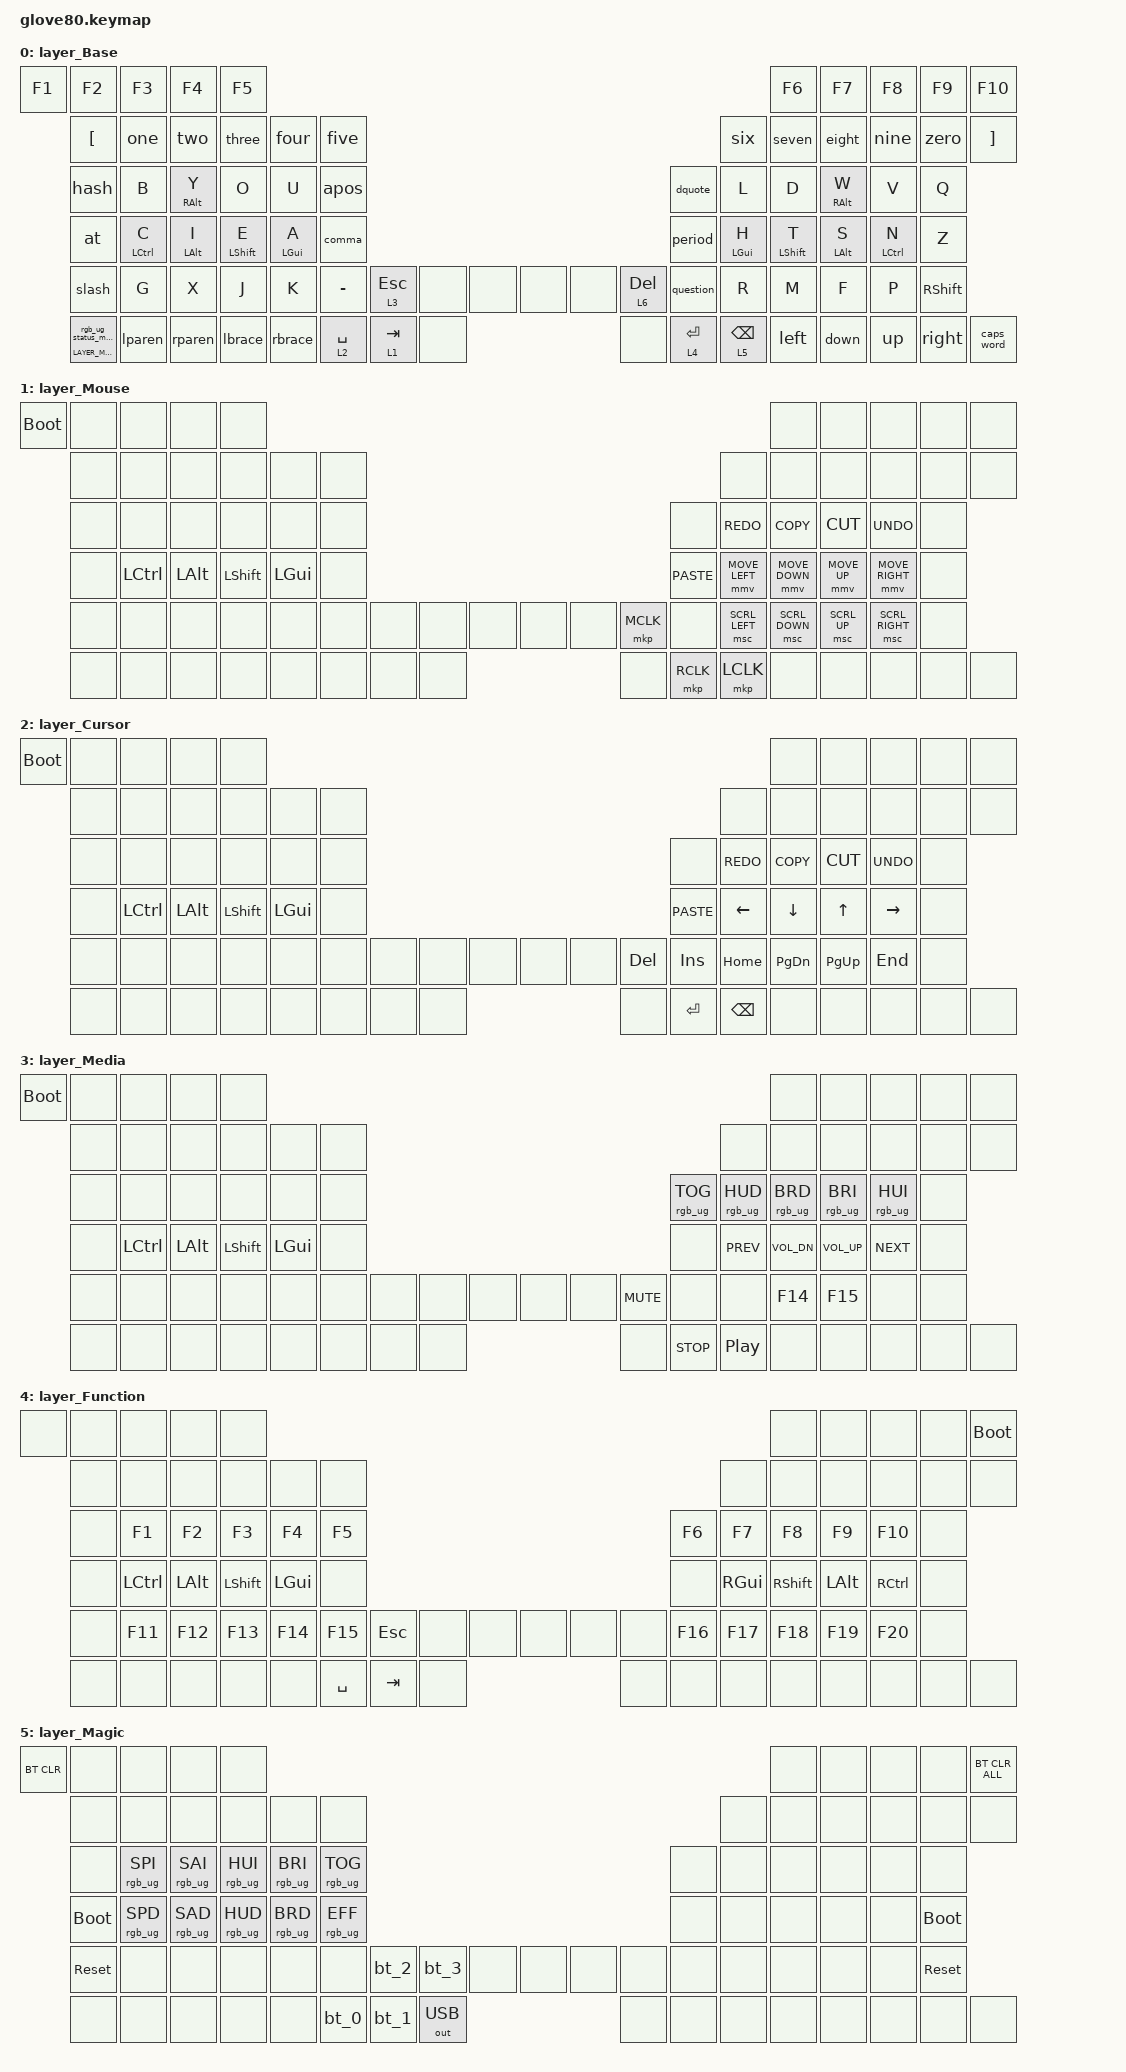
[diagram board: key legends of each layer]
/*
 * Copyright (c) 2020 The ZMK Contributors
 * Copyright (c) 2023 Innaworks Development Limited, trading as MoErgo
 *
 * SPDX-License-Identifier: MIT
 */


#include <behaviors.dtsi>
#include <dt-bindings/zmk/outputs.h>
#include <dt-bindings/zmk/keys.h> // ZMK keypresses
#include <dt-bindings/zmk/bt.h> // Bluetooth
#include <dt-bindings/zmk/rgb.h> // RGB lighting
#include <dt-bindings/zmk/mouse.h> // Custom device tree

// Define layers
#define LAYER_Base 0
#define LAYER_Mouse 1
#define LAYER_Cursor 2
#define LAYER_Media 3
#define LAYER_Function 4
#define LAYER_Magic 5
#ifndef LAYER_Lower
#define LAYER_Lower 0
#endif



// Glove80 system behavior & macros
/ {
    behaviors {
        lower: lower {
            compatible = "zmk,behavior-tap-dance";
            label = "LAYER_TAP_DANCE";
            #binding-cells = <0>;
            tapping-term-ms = <200>;
            bindings = <&mo LAYER_Lower>, <&to LAYER_Lower>;
        };
    };
};

/ {
    macros {
        rgb_ug_status_macro: rgb_ug_status_macro {
            label = "RGB_UG_STATUS";
            compatible = "zmk,behavior-macro";
            #binding-cells = <0>;
            bindings
                = <&rgb_ug RGB_STATUS>;
        };
    };
};

// Bluetooth stuff
/ {
#ifdef BT_DISC_CMD
    behaviors {
        bt_0: bt_0 {
            compatible = "zmk,behavior-tap-dance";
            label = "BT_0";
            #binding-cells = <0>;
            tapping-term-ms = <200>;
            bindings = <&bt_select_0>, <&bt BT_DISC 0>;
        };
        bt_1: bt_1 {
            compatible = "zmk,behavior-tap-dance";
            label = "BT_1";
            #binding-cells = <0>;
            tapping-term-ms = <200>;
            bindings = <&bt_select_1>, <&bt BT_DISC 1>;
        };
        bt_2: bt_2 {
            compatible = "zmk,behavior-tap-dance";
            label = "BT_2";
            #binding-cells = <0>;
            tapping-term-ms = <200>;
            bindings = <&bt_select_2>, <&bt BT_DISC 2>;
        };
        bt_3: bt_3 {
            compatible = "zmk,behavior-tap-dance";
            label = "BT_3";
            #binding-cells = <0>;
            tapping-term-ms = <200>;
            bindings = <&bt_select_3>, <&bt BT_DISC 3>;
        };
    };
    macros {
        bt_select_0: bt_select_0 {
            label = "BT_SELECT_0";
            compatible = "zmk,behavior-macro";
            #binding-cells = <0>;
            bindings
                = <&out OUT_BLE>,
                  <&bt BT_SEL 0>;
        };
        bt_select_1: bt_select_1 {
            label = "BT_SELECT_1";
            compatible = "zmk,behavior-macro";
            #binding-cells = <0>;
            bindings
                = <&out OUT_BLE>,
                  <&bt BT_SEL 1>;
        };
        bt_select_2: bt_select_2 {
            label = "BT_SELECT_2";
            compatible = "zmk,behavior-macro";
            #binding-cells = <0>;
            bindings
                = <&out OUT_BLE>,
                  <&bt BT_SEL 2>;
        };
        bt_select_3: bt_select_3 {
            label = "BT_SELECT_3";
            compatible = "zmk,behavior-macro";
            #binding-cells = <0>;
            bindings
                = <&out OUT_BLE>,
                  <&bt BT_SEL 3>;
        };
    };
#else
    macros {
        bt_0: bt_0 {
            label = "BT_0";
            compatible = "zmk,behavior-macro";
            #binding-cells = <0>;
            bindings
                = <&out OUT_BLE>,
                  <&bt BT_SEL 0>;
        };
        bt_1: bt_1 {
            label = "BT_1";
            compatible = "zmk,behavior-macro";
            #binding-cells = <0>;
            bindings
                = <&out OUT_BLE>,
                  <&bt BT_SEL 1>;
        };
        bt_2: bt_2 {
            label = "BT_2";
            compatible = "zmk,behavior-macro";
            #binding-cells = <0>;
            bindings
                = <&out OUT_BLE>,
                  <&bt BT_SEL 2>;
        };
        bt_3: bt_3 {
            label = "BT_3";
            compatible = "zmk,behavior-macro";
            #binding-cells = <0>;
            bindings
                = <&out OUT_BLE>,
                  <&bt BT_SEL 3>;
        };
    };
#endif
};

// Magic layer
/ {
    behaviors {
        magic: magic {
            compatible = "zmk,behavior-hold-tap";
            label = "MAGIC_HOLD_TAP";
            #binding-cells = <2>;
            flavor = "tap-preferred";
            tapping-term-ms = <200>;
            bindings = <&mo>, <&rgb_ug_status_macro>;
        };
    };
};

/* #define for key positions */
#define POS_LH_T1 52
#define POS_LH_T2 53
#define POS_LH_T3 54
#define POS_LH_T4 69
#define POS_LH_T5 70
#define POS_LH_T6 71
#define POS_LH_C1R2 15
#define POS_LH_C1R3 27
#define POS_LH_C1R4 39
#define POS_LH_C1R5 51
#define POS_LH_C2R1 4
#define POS_LH_C2R2 14
#define POS_LH_C2R3 26
#define POS_LH_C2R4 38
#define POS_LH_C2R5 50
#define POS_LH_C2R6 68
#define POS_LH_C3R1 3
#define POS_LH_C3R2 13
#define POS_LH_C3R3 25
#define POS_LH_C3R4 37
#define POS_LH_C3R5 49
#define POS_LH_C3R6 67
#define POS_LH_C4R1 2
#define POS_LH_C4R2 12
#define POS_LH_C4R3 24
#define POS_LH_C4R4 36
#define POS_LH_C4R5 48
#define POS_LH_C4R6 66
#define POS_LH_C5R1 1
#define POS_LH_C5R2 11
#define POS_LH_C5R3 23
#define POS_LH_C5R4 35
#define POS_LH_C5R5 47
#define POS_LH_C5R6 65
#define POS_LH_C6R1 0
#define POS_LH_C6R2 10
#define POS_LH_C6R3 22
#define POS_LH_C6R4 34
#define POS_LH_C6R5 46
#define POS_LH_C6R6 64
#define POS_RH_T1 57
#define POS_RH_T2 56
#define POS_RH_T3 55
#define POS_RH_T4 74
#define POS_RH_T5 73
#define POS_RH_T6 72
#define POS_RH_C1R2 16
#define POS_RH_C1R3 28
#define POS_RH_C1R4 40
#define POS_RH_C1R5 58
#define POS_RH_C2R1 5
#define POS_RH_C2R2 17
#define POS_RH_C2R3 29
#define POS_RH_C2R4 41
#define POS_RH_C2R5 59
#define POS_RH_C2R6 75
#define POS_RH_C3R1 6
#define POS_RH_C3R2 18
#define POS_RH_C3R3 30
#define POS_RH_C3R4 42
#define POS_RH_C3R5 60
#define POS_RH_C3R6 76
#define POS_RH_C4R1 7
#define POS_RH_C4R2 19
#define POS_RH_C4R3 31
#define POS_RH_C4R4 43
#define POS_RH_C4R5 61
#define POS_RH_C4R6 77
#define POS_RH_C5R1 8
#define POS_RH_C5R2 20
#define POS_RH_C5R3 32
#define POS_RH_C5R4 44
#define POS_RH_C5R5 62
#define POS_RH_C5R6 78
#define POS_RH_C6R1 9
#define POS_RH_C6R2 21
#define POS_RH_C6R3 33
#define POS_RH_C6R4 45
#define POS_RH_C6R5 63
#define POS_RH_C6R6 79

// Custom behavior definitions.
// Modifiers: MOD_LSFT, MOD_RSFT, MOD_LCTL, MOD_RCTL, MOD_LALT, MOD_RALT, MOD_LGUI, MOD_RGUI
/ {
behaviors {
  // Change shifted output of particular keys.
    one: one_and_pipe {
        compatible = "zmk,behavior-mod-morph";
        label = "ONE_AND_PIPE";
        #binding-cells = <0>;
        bindings = <&kp N1>, <&kp PIPE>; 
        mods = <(MOD_LSFT|MOD_RSFT)>;
    };
    two: two_and_equal {
        compatible = "zmk,behavior-mod-morph";
        label = "TWO_AND_EQUAL";
        #binding-cells = <0>;
        bindings = <&kp N2>, <&kp EQUAL>;
        mods = <(MOD_LSFT|MOD_RSFT)>;
    };
    three: three_and_tilde {
        compatible = "zmk,behavior-mod-morph";
        label = "THREE_AND_TILDE";
        #binding-cells = <0>;
        bindings = <&kp N3>, <&kp TILDE>;
        mods = <(MOD_LSFT|MOD_RSFT)>;
    };
    four: four_and_plus {
        compatible = "zmk,behavior-mod-morph";
        label = "FOUR_AND_PLUS";
        #binding-cells = <0>;
        bindings = <&kp N4>, <&kp PLUS>;
        mods = <(MOD_LSFT|MOD_RSFT)>;
    };
    five: five_and_less_than {
        compatible = "zmk,behavior-mod-morph";
        label = "FIVE_AND_LESS_THAN";
        #binding-cells = <0>;
        bindings = <&kp N5>, <&kp LESS_THAN>;
        mods = <(MOD_LSFT|MOD_RSFT)>;
    };
    six: six_and_greater_than {
        compatible = "zmk,behavior-mod-morph";
        label = "SIX_AND_GREATER_THAN";
        #binding-cells = <0>;
        bindings = <&kp N6>, <&kp GREATER_THAN>;
        mods = <(MOD_LSFT|MOD_RSFT)>;
    };
    seven: seven_and_caret {
        compatible = "zmk,behavior-mod-morph";
        label = "SEVEN_AND_CARET";
        #binding-cells = <0>;
        bindings = <&kp N7>, <&kp CARET>;
        mods = <(MOD_LSFT|MOD_RSFT)>;
    };
    eight: eight_and_ampersand {
        compatible = "zmk,behavior-mod-morph";
        label = "EIGHT_AND_AMPERSAND";
        #binding-cells = <0>;
        bindings = <&kp N8>, <&kp AMPERSAND>;
        mods = <(MOD_LSFT|MOD_RSFT)>;
    };
    nine: nine_and_percent {
        compatible = "zmk,behavior-mod-morph";
        label = "NINE_AND_PERCENT";
        #binding-cells = <0>;
        bindings = <&kp N9>, <&kp PERCENT>;
        mods = <(MOD_LSFT|MOD_RSFT)>;
    };
    zero: zero_and_asterisk {
        compatible = "zmk,behavior-mod-morph";
        label = "ZERO_AND_ASTERISK";
        #binding-cells = <0>;
        bindings = <&kp N0>, <&kp ASTERISK>;
        mods = <(MOD_LSFT|MOD_RSFT)>;
    };
    apos: apostrophe_and_left_parenthesis {
        compatible = "zmk,behavior-mod-morph";
        label = "APOSTROPHE_AND_LEFT_PARENTHESIS";
        #binding-cells = <0>;
        bindings = <&kp APOSTROPHE>, <&kp LEFT_PARENTHESIS>;
        mods = <(MOD_LSFT|MOD_RSFT)>;
    };
    dquote: double_quotes_and_right_parenthesis {
        compatible = "zmk,behavior-mod-morph";
        label = "DOUBLE_QUOTES_AND_RIGHT_PARENTHESIS";
        #binding-cells = <0>;
        bindings = <&kp DOUBLE_QUOTES>, <&kp RIGHT_PARENTHESIS>;
        mods = <(MOD_LSFT|MOD_RSFT)>;
    };
    comma: comma_and_semicolon {
        compatible = "zmk,behavior-mod-morph";
        label = "COMMA_AND_SEMICOLON";
        #binding-cells = <0>;
        bindings = <&kp COMMA>, <&kp SEMICOLON>;
        mods = <(MOD_LSFT|MOD_RSFT)>;
    };
    period: period_and_colon {
        compatible = "zmk,behavior-mod-morph";
        label = "PERIOD_AND_COLON";
        #binding-cells = <0>;
        bindings = <&kp PERIOD>, <&kp COLON>;
        mods = <(MOD_LSFT|MOD_RSFT)>;
    };
    question: question_and_exclamation {
        compatible = "zmk,behavior-mod-morph";
        label = "QUESTION_AND_EXCLAMATION";
        #binding-cells = <0>;
        bindings = <&kp QUESTION>, <&kp EXCLAMATION>;
        mods = <(MOD_LSFT|MOD_RSFT)>;
    };
    hash: hash_and_dollar {
        compatible = "zmk,behavior-mod-morph";
        label = "HASH_AND_DOLLAR";
        #binding-cells = <0>;
        bindings = <&kp HASH>, <&kp DOLLAR>;
        mods = <(MOD_LSFT|MOD_RSFT)>;
    };
    at: at_and_grave {
        compatible = "zmk,behavior-mod-morph";
        label = "AT_AND_GRAVE";
        #binding-cells = <0>;
        bindings = <&kp AT>, <&kp GRAVE>;
        mods = <(MOD_LSFT|MOD_RSFT)>;
    };
    slash: slash_and_backslash {
        compatible = "zmk,behavior-mod-morph";
        label = "SLASH_AND_BACKSLASH";
        #binding-cells = <0>;
        bindings = <&kp SLASH>, <&kp BACKSLASH>;
        mods = <(MOD_LSFT|MOD_RSFT)>;
    };
    lparen: left_parenthesis_and_brace {
        compatible = "zmk,behavior-mod-morph";
        label = "PARENTHESIS_AND_BRACE";
        #binding-cells = <0>;
        bindings = <&kp LEFT_PARENTHESIS>, <&kp LEFT_BRACKET>;
        mods = <(MOD_LSFT|MOD_RSFT)>;
    };
    rparen: right_parenthesis_and_brace {
        compatible = "zmk,behavior-mod-morph";
        label = "RIGHT_PARENTHESIS_AND_BRACE";
        #binding-cells = <0>;
        bindings = <&kp RIGHT_PARENTHESIS>, <&kp RIGHT_BRACKET>;
        mods = <(MOD_LSFT|MOD_RSFT)>;
    };
    lbrace: left_brace_and_less_than {
        compatible = "zmk,behavior-mod-morph";
        label = "LEFT_BRACE_AND_LESS_THAN";
        #binding-cells = <0>;
        bindings = <&kp LEFT_BRACE>, <&kp LESS_THAN>;
        mods = <(MOD_LSFT|MOD_RSFT)>;
    };
    rbrace: right_brace_and_greater_than {
        compatible = "zmk,behavior-mod-morph";
        label = "RIGHT_BRACE_AND_GREATER_THAN";
        #binding-cells = <0>;
        bindings = <&kp RIGHT_BRACE>, <&kp GREATER_THAN>;
        mods = <(MOD_LSFT|MOD_RSFT)>;
    };
    left: left_and_home {
        compatible = "zmk,behavior-mod-morph";
        label = "LEFT_AND_HOME";
        #binding-cells = <0>;
        bindings = <&kp LEFT>, <&kp HOME>;
        mods = <(MOD_LSFT|MOD_RSFT)>;
    };
    right: right_and_end {
        compatible = "zmk,behavior-mod-morph";
        label = "RIGHT_AND_END";
        #binding-cells = <0>;
        bindings = <&kp RIGHT>, <&kp END>;
        mods = <(MOD_LSFT|MOD_RSFT)>;
    };
    up: up_and_pgup {
        compatible = "zmk,behavior-mod-morph";
        label = "UP_AND_PGUP";
        #binding-cells = <0>;
        bindings = <&kp UP>, <&kp PG_UP>;
        mods = <(MOD_LSFT|MOD_RSFT)>;
    };
    down: down_and_pgdn {
        compatible = "zmk,behavior-mod-morph";
        label = "DOWN_AND_PGDN";
        #binding-cells = <0>;
        bindings = <&kp DOWN>, <&kp PAGE_DOWN>;
        mods = <(MOD_LSFT|MOD_RSFT)>;
    };
  };
};

// I don't know if this needs to be kept or not.
/ { macros {}; };

// Mod tap behaviors
/ {
    behaviors {

        left_pinky: left_pinky {
            compatible = "zmk,behavior-hold-tap";
            #binding-cells = <2>;
            tapping-term-ms = <200>;
            bindings = <&kp>, <&kp>;
            flavor = "tap-preferred";
            quick-tap-ms = <200>;
            require-prior-idle-ms = <100>;
        };

        right_pinky: right_pinky {
            compatible = "zmk,behavior-hold-tap";
            #binding-cells = <2>;
            tapping-term-ms = <200>;
            bindings = <&kp>, <&kp>;
            flavor = "tap-preferred";
            quick-tap-ms = <200>;
            require-prior-idle-ms = <100>;
        };

        left_ring1: left_ring1 {
            compatible = "zmk,behavior-hold-tap";
            #binding-cells = <2>;
            tapping-term-ms = <200>;
            bindings = <&kp>, <&kp>;
            flavor = "tap-preferred";
            quick-tap-ms = <200>;
            require-prior-idle-ms = <100>;
        };

        right_ring1: right_ring1 {
            compatible = "zmk,behavior-hold-tap";
            #binding-cells = <2>;
            tapping-term-ms = <200>;
            bindings = <&kp>, <&kp>;
            flavor = "tap-preferred";
            quick-tap-ms = <200>;
            require-prior-idle-ms = <100>;
        };

        left_ring2: left_ring2 {
            compatible = "zmk,behavior-hold-tap";
            #binding-cells = <2>;
            tapping-term-ms = <200>;
            bindings = <&kp>, <&kp>;
            flavor = "tap-preferred";
            quick-tap-ms = <200>;
            require-prior-idle-ms = <100>;
        };

        right_ring2: right_ring2 {
            compatible = "zmk,behavior-hold-tap";
            #binding-cells = <2>;
            tapping-term-ms = <200>;
            bindings = <&kp>, <&kp>;
            flavor = "tap-preferred";
            quick-tap-ms = <200>;
            require-prior-idle-ms = <100>;
        };

        left_middy: left_middy {
            compatible = "zmk,behavior-hold-tap";
            #binding-cells = <2>;
            tapping-term-ms = <170>;
            bindings = <&kp>, <&kp>;
            flavor = "balanced";
            quick-tap-ms = <100>;
        };

        right_middy: right_middy {
            compatible = "zmk,behavior-hold-tap";
            #binding-cells = <2>;
            tapping-term-ms = <170>;
            bindings = <&kp>, <&kp>;
            flavor = "balanced";
            quick-tap-ms = <100>;
        };

        left_index: left_index {
            compatible = "zmk,behavior-hold-tap";
            #binding-cells = <2>;
            tapping-term-ms = <170>;
            bindings = <&kp>, <&kp>;
            flavor = "tap-preferred";
            quick-tap-ms = <150>;
            require-prior-idle-ms = <100>;
        };

        right_index: right_index {
            compatible = "zmk,behavior-hold-tap";
            #binding-cells = <2>;
            tapping-term-ms = <170>;
            bindings = <&kp>, <&kp>;
            flavor = "tap-preferred";
            quick-tap-ms = <150>;
            require-prior-idle-ms = <100>;
        };

        thumb: thumb {
            compatible = "zmk,behavior-hold-tap";
            #binding-cells = <2>;
            tapping-term-ms = <200>;
            bindings = <&mo>, <&kp>;
            flavor = "tap-preferred";
            quick-tap-ms = <200>;
            require-prior-idle-ms = <100>;
        };
    };
};

/ {
    combos {
      compatible = "zmk,combos";
    };
};

/ {
    keymap {
        compatible = "zmk,keymap";

        layer_Base {
            bindings = <
               &kp F1               &kp F2              &kp F3               &kp F4              &kp F5                                                                                                                &kp F6                &kp F7               &kp F8                &kp F9     &kp F10
             &kp LBKT                 &one                &two               &three               &four      &five                                                                                  &six               &seven                &eight                &nine                 &zero    &kp RBKT
                &hash                &kp B  &left_ring2 RALT Y                &kp O               &kp U      &apos                                                                               &dquote                &kp L                 &kp D  &right_ring2 RALT W                 &kp V       &kp Q
                  &at  &left_pinky LCTRL C  &left_ring1 LALT I  &left_middy LSHFT E  &left_index LGUI A     &comma                                                                               &period  &right_index LGUI H  &right_middy LSHFT T  &right_ring1 LALT S  &right_pinky LCTRL N       &kp Z
               &slash                &kp G               &kp X                &kp J               &kp K  &kp MINUS    &thumb 3 ESC         &none   &none   &none         &none   &thumb 6 DEL  &question                &kp R                 &kp M                &kp F                 &kp P   &kp RSHFT
 &magic LAYER_Magic 0              &lparen             &rparen              &lbrace             &rbrace             &thumb 2 SPACE  &thumb 1 TAB   &none   &none  &thumb 4 RET  &thumb 5 BSPC                        &left             &down            &up               &right  &caps_word
            >;
        };

        layer_Mouse {
            bindings = <
 &bootloader      &none     &none      &none     &none                                                                                      &none           &none         &none            &none   &none
       &none      &none     &none      &none     &none   &none                                                              &none           &none           &none         &none            &none   &none
       &none      &none     &none      &none     &none   &none                                                              &none      &kp K_REDO      &kp K_COPY     &kp K_CUT       &kp K_UNDO   &none
       &none  &kp LCTRL  &kp LALT  &kp LSHFT  &kp LGUI   &none                                                        &kp K_PASTE  &mmv MOVE_LEFT  &mmv MOVE_DOWN  &mmv MOVE_UP  &mmv MOVE_RIGHT   &none
       &none      &none     &none      &none     &none   &none   &none   &none   &none   &none      &none  &mkp MCLK        &none  &msc SCRL_LEFT  &msc SCRL_DOWN  &msc SCRL_UP  &msc SCRL_RIGHT   &none
       &none      &none     &none      &none     &none           &none   &none   &none   &none  &mkp RCLK  &mkp LCLK                        &none           &none         &none            &none   &none
            >;
        };

        layer_Cursor {
            bindings = <
 &bootloader      &none     &none      &none     &none                                                                               &none       &none      &none       &none   &none
       &none      &none     &none      &none     &none   &none                                                           &none       &none       &none      &none       &none   &none
       &none      &none     &none      &none     &none   &none                                                           &none  &kp K_REDO  &kp K_COPY  &kp K_CUT  &kp K_UNDO   &none
       &none  &kp LCTRL  &kp LALT  &kp LSHFT  &kp LGUI   &none                                                     &kp K_PASTE    &kp LEFT    &kp DOWN     &kp UP   &kp RIGHT   &none
       &none      &none     &none      &none     &none   &none   &none   &none   &none   &none    &none   &kp DEL      &kp INS    &kp HOME   &kp PG_DN  &kp PG_UP     &kp END   &none
       &none      &none     &none      &none     &none           &none   &none   &none   &none  &kp RET  &kp BSPC                    &none       &none      &none       &none   &none
            >;
        };

        layer_Media {
            bindings = <
 &bootloader      &none     &none      &none     &none                                                                                             &none            &none            &none            &none   &none
       &none      &none     &none      &none     &none   &none                                                                    &none            &none            &none            &none            &none   &none
       &none      &none     &none      &none     &none   &none                                                          &rgb_ug RGB_TOG  &rgb_ug RGB_HUD  &rgb_ug RGB_BRD  &rgb_ug RGB_BRI  &rgb_ug RGB_HUI   &none
       &none  &kp LCTRL  &kp LALT  &kp LSHFT  &kp LGUI   &none                                                                    &none       &kp C_PREV     &kp C_VOL_DN     &kp C_VOL_UP       &kp C_NEXT   &none
       &none      &none     &none      &none     &none   &none   &none   &none   &none   &none       &none  &kp C_MUTE            &none            &none          &kp F14          &kp F15            &none   &none
       &none      &none     &none      &none     &none           &none   &none   &none   &none  &kp C_STOP    &kp C_PP                             &none            &none            &none            &none   &none
            >;
        };

        layer_Function {
            bindings = <
  &none      &none     &none      &none     &none                                                                           &none      &none     &none      &none  &bootloader
  &none      &none     &none      &none     &none    &none                                                        &none     &none      &none     &none      &none        &none
  &none     &kp F1    &kp F2     &kp F3    &kp F4   &kp F5                                                       &kp F6    &kp F7     &kp F8    &kp F9    &kp F10        &none
  &none  &kp LCTRL  &kp LALT  &kp LSHFT  &kp LGUI    &none                                                        &none  &kp RGUI  &kp RSHFT  &kp LALT  &kp RCTRL        &none
  &none    &kp F11   &kp F12    &kp F13   &kp F14  &kp F15    &kp ESC    &none   &none   &none   &none   &none  &kp F16   &kp F17    &kp F18   &kp F19    &kp F20        &none
  &none      &none     &none      &none     &none           &kp SPACE  &kp TAB   &none   &none   &none   &none              &none      &none     &none      &none        &none
            >;
        };

        layer_Magic {
            bindings = <
  &bt BT_CLR            &none            &none            &none            &none                                                                                  &none   &none   &none   &none  &bt BT_CLR_ALL
       &none            &none            &none            &none            &none            &none                                                         &none   &none   &none   &none   &none           &none
       &none  &rgb_ug RGB_SPI  &rgb_ug RGB_SAI  &rgb_ug RGB_HUI  &rgb_ug RGB_BRI  &rgb_ug RGB_TOG                                                         &none   &none   &none   &none   &none           &none
 &bootloader  &rgb_ug RGB_SPD  &rgb_ug RGB_SAD  &rgb_ug RGB_HUD  &rgb_ug RGB_BRD  &rgb_ug RGB_EFF                                                         &none   &none   &none   &none   &none     &bootloader
  &sys_reset            &none            &none            &none            &none            &none   &bt_2   &bt_3         &none   &none   &none   &none   &none   &none   &none   &none   &none      &sys_reset
       &none            &none            &none            &none            &none                    &bt_0   &bt_1  &out OUT_USB   &none   &none   &none           &none   &none   &none   &none           &none
            >;
        };

    };
};
